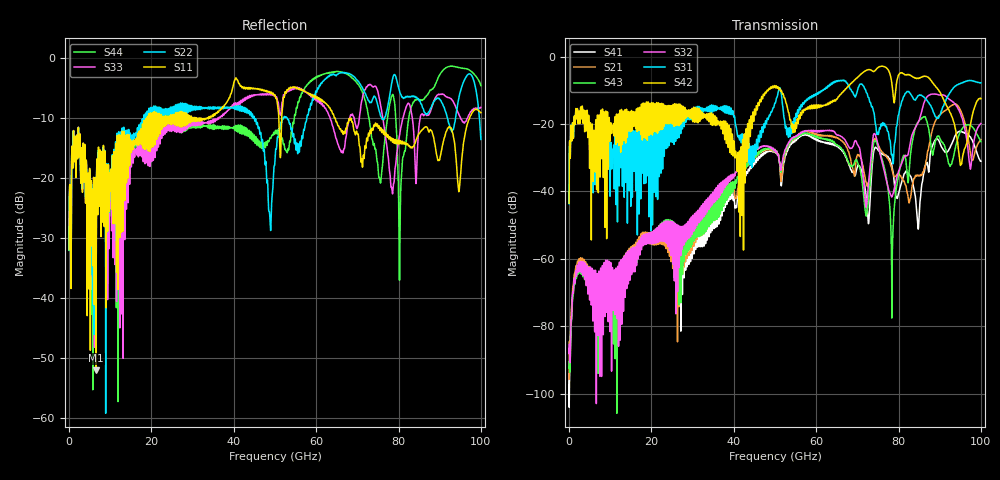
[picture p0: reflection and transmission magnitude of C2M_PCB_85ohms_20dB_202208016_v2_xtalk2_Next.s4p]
! Info: Touchstone file created by Circ.  Input file=Intel_C2M_200G_7p0in_202208016_staggered.circ
# Hz S RI R 50
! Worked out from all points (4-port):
!   10000 points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, 10 MHz to 100 GHz, reference 50 ohm
!   strongest paths, dB at 10 MHz, 25.01 GHz, 50.01 GHz, 75.01 GHz, 100 GHz:
!     S42: -43.5, -18.0, -9.1, -3.3, -12.5
!     S31: -43.7, -21.3, -13.8, -22.7, -7.8
!     S32: -86.6, -49.1, -27.6, -26.2, -19.8
!     S43: -90.4, -48.9, -27.5, -26.8, -25.2
!     S21: -95.7, -51.3, -27.8, -26.0, -24.6
!     S41: -94.1, -50.9, -27.9, -27.7, -31.0
!   lowest |S11| = -52.1 dB at 6.56 GHz (marker M1), VSWR 1.01, Z = 49.8 + j0.182 ohm
!   |S11| at or under -10 dB: start of sweep to 19 GHz; 31.8 GHz to 33.53 GHz (1.729 GHz wide, 5.29 % of centre); 64.58 GHz to 97.27 GHz (32.69 GHz wide, 40.4 % of centre)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
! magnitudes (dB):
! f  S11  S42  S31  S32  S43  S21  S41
! 10 MHz  -31.9  -43.5  -43.7  -86.6  -90.4  -95.7  -94.1
! 6.56 GHz  -52.1  -19.3  -21.0  -70.5  -73.4  -67.6  -70.0
! 56.61 GHz  -5.4  -16.1  -14.6  -22.3  -22.7  -22.3  -23.0
! 74.5 GHz  -11.0  -3.9  -20.5  -23.7  -25.2  -24.6  -26.9
! 78.43 GHz  -13.7  -8.4  -29.0  -41.5  -65.3  -33.6  -32.7
! 85.21 GHz  -12.4  -6.4  -11.4  -18.0  -18.7  -35.4  -43.1
! 100 GHz  -9.1  -12.5  -7.8  -19.8  -25.2  -24.6  -31.0
